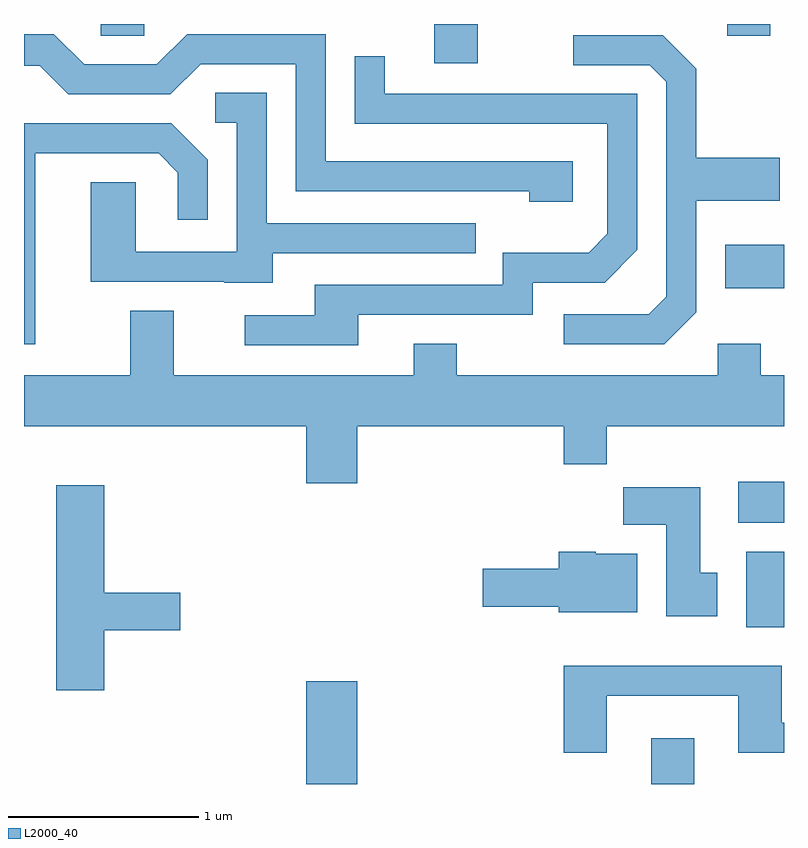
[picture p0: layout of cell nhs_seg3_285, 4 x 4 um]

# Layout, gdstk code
import gdstk
lib = gdstk.Library(unit=1e-6, precision=1e-09)
def R(c, l, rs):  # rectangles x0, y0, x1, y1
    for r in rs: c.add(gdstk.rectangle(r[:2], r[2:], *l))
def P(c, l, *ps):  # polygons
    for p in ps: c.add(gdstk.Polygon(p, *l))
L2000_40 = (2000, 40)

nhs_seg3_285 = lib.new_cell('nhs_seg3_285')
R(nhs_seg3_285, L2000_40, [(195.096,1141.892,195.364,1142.434), (196.911,1141.892,197.139,1142.134), (197.411,1142.716,197.611,1143.114), (197.371,1143.266,197.611,1143.484), (197.301,1144.501,197.611,1144.729), (195.771,1145.686,195.999,1145.892), (194.016,1145.831,194.244,1145.892), (197.311,1145.831,197.539,1145.892)])
P(nhs_seg3_285, L2000_40, [(196.499,1145.169),(195.199,1145.169),(195.199,1145.839),(194.469,1145.839),(194.309,1145.679),(193.927,1145.679),(193.767,1145.839),(193.611,1145.839),(193.611,1145.671),(193.694,1145.671),(193.844,1145.521),(194.382,1145.521),(194.542,1145.681),(195.041,1145.681),(195.041,1145.011),(196.271,1145.011),(196.271,1144.956),(196.499,1144.956)],
  [(197.149,1144.374),(197.149,1144.961),(197.589,1144.961),(197.589,1145.189),(197.149,1145.189),(197.149,1145.657),(196.972,1145.834),(196.503,1145.834),(196.503,1145.676),(196.904,1145.676),(196.991,1145.589),(196.991,1144.457),(196.899,1144.364),(196.453,1144.364),(196.453,1144.206),(196.982,1144.206)],
  [(195.369,1144.361),(196.289,1144.361),(196.289,1144.531),(196.667,1144.531),(196.839,1144.704),(196.839,1145.524),(195.509,1145.524),(195.509,1145.723),(195.351,1145.723),(195.351,1145.366),(196.681,1145.366),(196.681,1144.787),(196.584,1144.689),(196.131,1144.689),(196.131,1144.519),(195.141,1144.519),(195.141,1144.359),(194.773,1144.359),(194.773,1144.201),(195.369,1144.201)],
  [(194.919,1144.686),(195.988,1144.686),(195.988,1144.844),(194.889,1144.844),(194.889,1145.529),(194.618,1145.529),(194.618,1145.371),(194.731,1145.371),(194.731,1144.694),(194.199,1144.694),(194.199,1145.059),(193.961,1145.059),(193.961,1144.536),(194.665,1144.536),(194.665,1144.531),(194.919,1144.531)],
  [(193.669,1145.211),(194.319,1145.211),(194.421,1145.109),(194.421,1144.863),(194.579,1144.863),(194.579,1145.177),(194.387,1145.369),(193.611,1145.369),(193.611,1144.206),(193.669,1144.206)],
  [(195.364,1143.776),(196.451,1143.776),(196.451,1143.576),(196.679,1143.576),(196.679,1143.776),(197.611,1143.776),(197.611,1144.044),(197.489,1144.044),(197.489,1144.209),(197.261,1144.209),(197.261,1144.044),(195.889,1144.044),(195.889,1144.209),(195.661,1144.209),(195.661,1144.044),(194.399,1144.044),(194.399,1144.384),(194.171,1144.384),(194.171,1144.044),(193.611,1144.044),(193.611,1143.776),(195.096,1143.776),(195.096,1143.476),(195.364,1143.476)],
  [(194.034,1142.701),(194.434,1142.701),(194.434,1142.899),(194.034,1142.899),(194.034,1143.464),(193.781,1143.464),(193.781,1142.386),(194.034,1142.386)],
  [(197.259,1143.004),(197.169,1143.004),(197.169,1143.454),(196.766,1143.454),(196.766,1143.256),(196.991,1143.256),(196.991,1142.776),(197.259,1142.776)],
  [(196.839,1143.104),(196.62,1143.104),(196.62,1143.114),(196.426,1143.114),(196.426,1143.024),(196.026,1143.024),(196.026,1142.826),(196.426,1142.826),(196.426,1142.796),(196.839,1142.796)],
  [(196.679,1142.356),(197.371,1142.356),(197.371,1142.056),(197.611,1142.056),(197.611,1142.214),(197.599,1142.214),(197.599,1142.514),(196.451,1142.514),(196.451,1142.056),(196.679,1142.056)])

lib.write_gds('nhs_seg3_285.gds')
